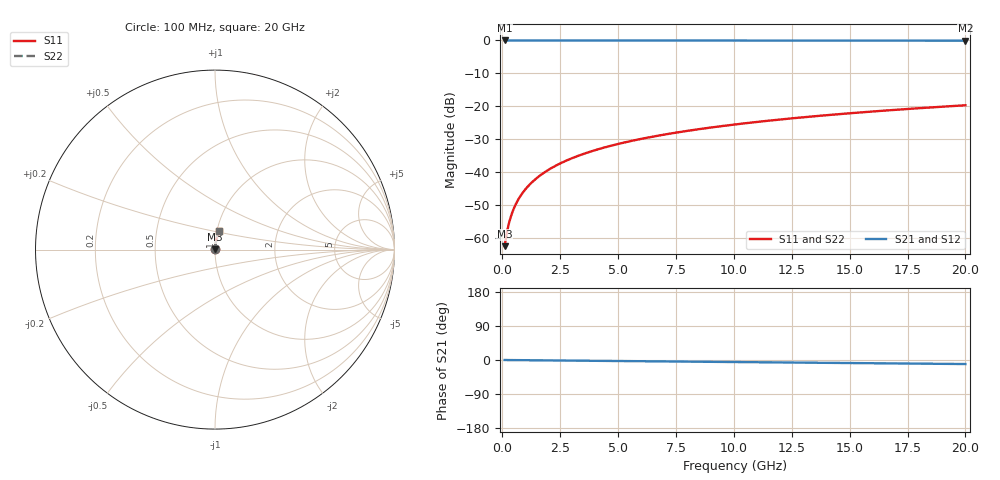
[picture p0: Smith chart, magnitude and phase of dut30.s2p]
! Touchstone file exported from HFSS 2026.1.0
!  File:  C:/ffzhzh/LocalFiles/Ansys_Project_Files/temp_train_TSV_30_1782958400_15332.aedt
!  Generated:  10:15:13 AM Jul  2, 2026
!  Design:  TSV
!  Project:  temp_train_TSV_30_1782958400_15332
! Variables:
!  h_bsmrdl = 2um
!  h_ox = 20um
!  h_rdl = 5um
!  h_sub = 84.98um
!  h_tmrdl = 5um
!  h_tsv = 84.98um
!  h_via = 3um
!  l_bsmrdl = 300um
!  l_sub = 408.96um
!  l_tmrdl = 200um
!  m_sub = 200um
!  pitch = 49.56um
!  r_tsv = 4.48um
!  s_tmrdl = 10um
!  w_bsmrdl = 18um
!  w_sub = 500um
!  w_tmrdl = 12um
!  x_tsv_center1 = 206um
!  x_tsv_center2 = 524um
!  x_tsv_center3 = 736um
!  x_tsv_center4 = 1054um
!  x_tsv_center5 = 1266um
!  x_tsv_center6 = 1584um
# GHz S MA R 50.000000
! Terminal data exported
! Port[1] = TSV1_1_T1
! Port[2] = TSV1_1_T2
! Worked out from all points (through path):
!   200 points, 100 MHz to 20 GHz, reference 50 ohm
!   highest |S21| = 0.00 dB at 100 MHz (marker M1); lowest = -0.1 dB at 20 GHz (marker M2)
!   group delay of S21, straight-line fit = 1.48 ps
!   lowest |S11| = -62.3 dB at 100 MHz (marker M3), VSWR 1.00, Z = 50.1 + j0.0567 ohm
!   |S11| at or under -10 dB: start of sweep to end of sweep
!   |S22| runs from -62.3 to -19.6 dB; largest |S21 - S12| = 4.6e-15
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0.1  0.0007643 47.8  0.9995 -0.1  0.9995 -0.1  0.0007643 47.8
! Gamma 0 0 0 0
! Port Impedance 50 0 50 0
0.2  0.001245 65.1  0.9995 -0.1  0.9995 -0.1  0.001245 65.1
0.3  0.001773 72.3  0.9995 -0.2  0.9995 -0.2  0.001773 72.3
0.4  0.002313 76.1  0.9995 -0.2  0.9995 -0.2  0.002313 76.1
0.5  0.002855 78.4  0.9994 -0.3  0.9994 -0.3  0.002855 78.4
0.7  0.003941 81.0  0.9994 -0.4  0.9994 -0.4  0.003941 81.0
0.8  0.004484 81.8  0.9994 -0.4  0.9994 -0.4  0.004484 81.8
1  0.00557 83.0  0.9994 -0.6  0.9994 -0.6  0.00557 83.0
1.2  0.006657 83.8  0.9993 -0.7  0.9993 -0.7  0.006657 83.8
1.4  0.007743 84.3  0.9993 -0.8  0.9993 -0.8  0.007743 84.3
1.7  0.009371 84.7  0.9992 -0.9  0.9992 -0.9  0.009371 84.7
2  0.011 85.0  0.9992 -1.1  0.9992 -1.1  0.011 85.0
2.7  0.01477 85.2  0.999 -1.5  0.999 -1.5  0.01477 85.2
3.5  0.01906 85.2  0.9988 -1.9  0.9988 -1.9  0.01906 85.2
4.2  0.02278 85.0  0.9987 -2.3  0.9987 -2.3  0.02278 85.0
5  0.02701 84.7  0.9984 -2.7  0.9984 -2.7  0.02701 84.7
6.8  0.03645 84.1  0.9979 -3.7  0.9979 -3.7  0.03645 84.1
8.3  0.04427 83.5  0.9974 -4.5  0.9974 -4.5  0.04427 83.5
10.1  0.05361 82.7  0.9968 -5.4  0.9968 -5.4  0.05361 82.7
13.4  0.07062 81.2  0.9955 -7.2  0.9955 -7.2  0.07062 81.2
16.7  0.08749 79.6  0.9939 -8.9  0.9939 -8.9  0.08749 79.6
20  0.1042 78.0  0.9921 -10.6  0.9921 -10.6  0.1042 78.0
